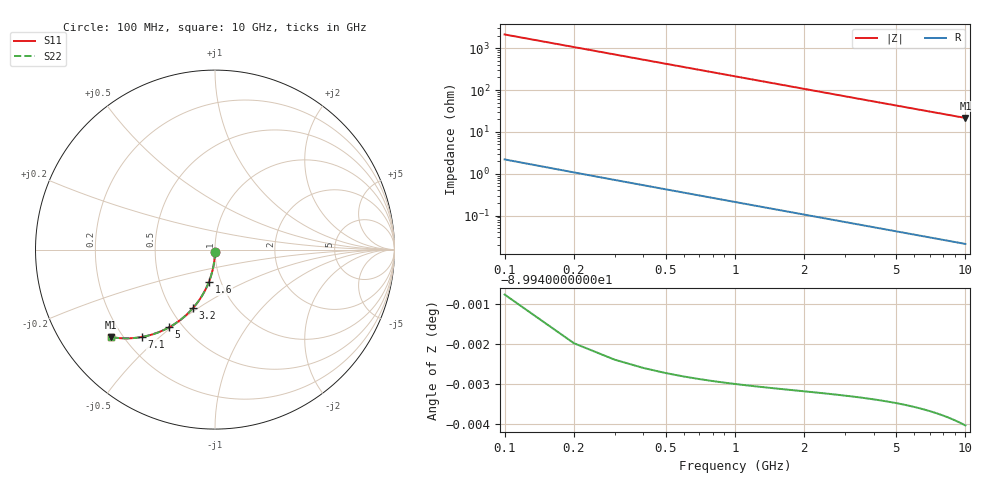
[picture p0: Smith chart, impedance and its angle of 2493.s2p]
# Hz S RI R 50.00
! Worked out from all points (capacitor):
!   100 points, 100 MHz to 10 GHz, reference 50 ohm
!   read as one part in shunt: C = 750 fF near 100 MHz
!   lowest |Z| = 21.5 ohm at 10 GHz (marker M1)
!   S11 on the Smith chart (normalised r, x): 100 MHz: 1.00, -0.02; 1.6 GHz: 0.88, -0.33; 3.2 GHz: 0.64, -0.48; 5 GHz: 0.42, -0.49; 7.1 GHz: 0.27, -0.44; 10 GHz: 0.16, -0.36
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1e8  -0.000136 -0.0117  0.9998 -0.0118  0.9998 -0.0118  -0.000136 -0.0117
2e8  -0.000564 -0.0234  0.9994 -0.0237  0.9994 -0.0237  -0.000564 -0.0234
3e8  -0.00127 -0.0351  0.9987 -0.0355  0.9987 -0.0355  -0.00127 -0.0351
4e8  -0.00225 -0.0468  0.9977 -0.0473  0.9977 -0.0473  -0.00225 -0.0468
5e8  -0.0035 -0.0584  0.9965 -0.059  0.9965 -0.059  -0.0035 -0.0584
6e8  -0.00503 -0.07  0.9949 -0.0707  0.9949 -0.0707  -0.00503 -0.07
7e8  -0.00682 -0.0815  0.9931 -0.0823  0.9931 -0.0823  -0.00682 -0.0815
9e8  -0.0112 -0.1043  0.9888 -0.1053  0.9888 -0.1053  -0.0112 -0.1043
1.2e9  -0.0197 -0.1378  0.9803 -0.1392  0.9803 -0.1392  -0.0197 -0.1378
1.6e9  -0.0344 -0.1809  0.9655 -0.1828  0.9655 -0.1828  -0.0344 -0.1809
1.8e9  -0.0431 -0.2017  0.9568 -0.2038  0.9568 -0.2038  -0.0431 -0.2017
2.4e9  -0.0741 -0.26  0.9259 -0.2628  0.9259 -0.2628  -0.0741 -0.26
2.8e9  -0.0981 -0.2953  0.9019 -0.2986  0.9019 -0.2986  -0.0981 -0.2953
3.2e9  -0.1243 -0.3275  0.8757 -0.3313  0.8757 -0.3313  -0.1243 -0.3275
3.4e9  -0.138 -0.3424  0.862 -0.3464  0.862 -0.3464  -0.138 -0.3424
4.2e9  -0.196 -0.3941  0.8039 -0.399  0.8039 -0.399  -0.196 -0.3941
5e9  -0.2565 -0.4333  0.7435 -0.4392  0.7435 -0.4392  -0.2565 -0.4333
5.1e9  -0.2641 -0.4374  0.7359 -0.4434  0.7359 -0.4434  -0.2641 -0.4374
6.7e9  -0.3818 -0.4814  0.6182 -0.4893  0.6182 -0.4893  -0.3818 -0.4814
7.1e9  -0.4093 -0.487  0.5906 -0.4954  0.5906 -0.4954  -0.4093 -0.487
8.4e9  -0.4919 -0.4944  0.508 -0.5044  0.508 -0.5044  -0.4919 -0.4944
1e10  -0.578 -0.4874  0.4219 -0.4994  0.4219 -0.4994  -0.578 -0.4874
